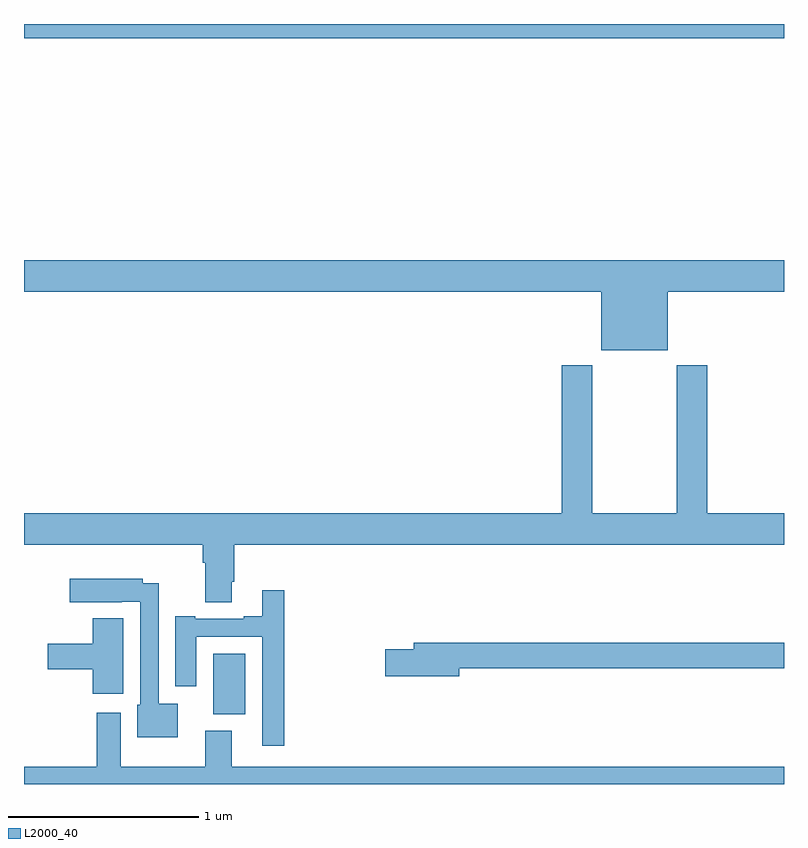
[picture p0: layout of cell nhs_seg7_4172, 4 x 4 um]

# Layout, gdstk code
import gdstk
lib = gdstk.Library(unit=1e-6, precision=1e-09)
def R(c, l, rs):  # rectangles x0, y0, x1, y1
    for r in rs: c.add(gdstk.rectangle(r[:2], r[2:], *l))
def P(c, l, *ps):  # polygons
    for p in ps: c.add(gdstk.Polygon(p, *l))
L2000_40 = (2000, 40)

nhs_seg7_4172 = lib.new_cell('nhs_seg7_4172')
R(nhs_seg7_4172, L2000_40, [(375.995,1022.366,376.165,1022.686), (375,1025.924,379,1026)])
P(nhs_seg7_4172, L2000_40, [(378.388,1024.592),(379,1024.592),(379,1024.756),(375,1024.756),(375,1024.592),(378.038,1024.592),(378.038,1024.283),(378.388,1024.283)],
  [(376.093,1023.064),(376.106,1023.064),(376.106,1023.26),(379,1023.26),(379,1023.424),(378.596,1023.424),(378.596,1024.204),(378.436,1024.204),(378.436,1023.424),(377.991,1023.424),(377.991,1024.204),(377.831,1024.204),(377.831,1023.424),(375,1023.424),(375,1023.26),(375.941,1023.26),(375.941,1023.164),(375.953,1023.164),(375.953,1022.956),(376.093,1022.956)],
  [(375.808,1022.422),(375.708,1022.422),(375.708,1023.056),(375.624,1023.056),(375.624,1023.079),(375.24,1023.079),(375.24,1022.957),(375.515,1022.957),(375.515,1022.958),(375.612,1022.958),(375.612,1022.418),(375.596,1022.418),(375.596,1022.246),(375.808,1022.246)],
  [(376.37,1023.019),(376.253,1023.019),(376.253,1022.884),(376.157,1022.884),(376.157,1022.871),(375.901,1022.871),(375.901,1022.884),(375.797,1022.884),(375.797,1022.514),(375.907,1022.514),(375.907,1022.775),(376.254,1022.775),(376.254,1022.202),(376.37,1022.202)],
  [(375.523,1022.872),(375.362,1022.872),(375.362,1022.737),(375.126,1022.737),(375.126,1022.603),(375.362,1022.603),(375.362,1022.475),(375.523,1022.475)],
  [(377.29,1022.608),(379,1022.608),(379,1022.744),(377.051,1022.744),(377.051,1022.708),(376.902,1022.708),(376.902,1022.566),(377.29,1022.566)],
  [(376.093,1022.281),(375.953,1022.281),(375.953,1022.092),(375.508,1022.092),(375.508,1022.374),(375.383,1022.374),(375.383,1022.092),(375,1022.092),(375,1022),(379,1022),(379,1022.092),(376.093,1022.092)])

lib.write_gds('nhs_seg7_4172.gds')
